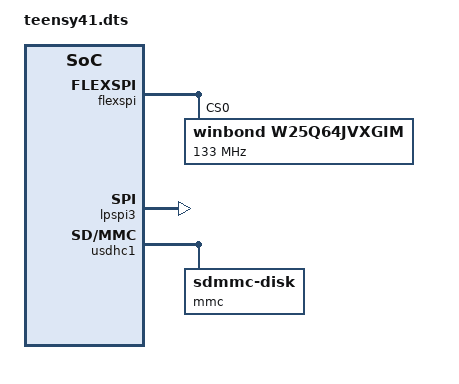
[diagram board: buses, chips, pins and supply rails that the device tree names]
/*
 * Copyright (c) 2020, Bernhard Kraemer
 *
 * SPDX-License-Identifier: Apache-2.0
 */

#include "teensy40.dts"

/delete-node/ &w25q16jvuxim;
&flexspi {
	reg = < 0x402a8000 0x4000 >, < 0x60000000 0x800000 >;
	/* WINBOND flash memory*/
	w25q64jvxgim: w25q64jvxgim@0 {
		compatible = "winbond,w25q64jvxgim", "jedec,spi-nor";
		size = < 8388607 >;
		reg = < 0 >;
		spi-max-frequency = < 133000000 >;
		status = "okay";
		jedec-id = [ ef 70 17 ];
	};
};

&lpspi3 {
	status = "okay";
};

&usdhc1 {
	status = "okay";
	no-1-8-v;
	pinctrl-0 = <&pinmux_usdhc1>;
	pinctrl-1 = <&pinmux_usdhc1_slow>;
	pinctrl-2 = <&pinmux_usdhc1_med>;
	pinctrl-3 = <&pinmux_usdhc1_fast>;
	pinctrl-names = "default", "slow", "med", "fast";
	mmc {
		compatible = "zephyr,sdmmc-disk";
		status = "okay";
	};
};
